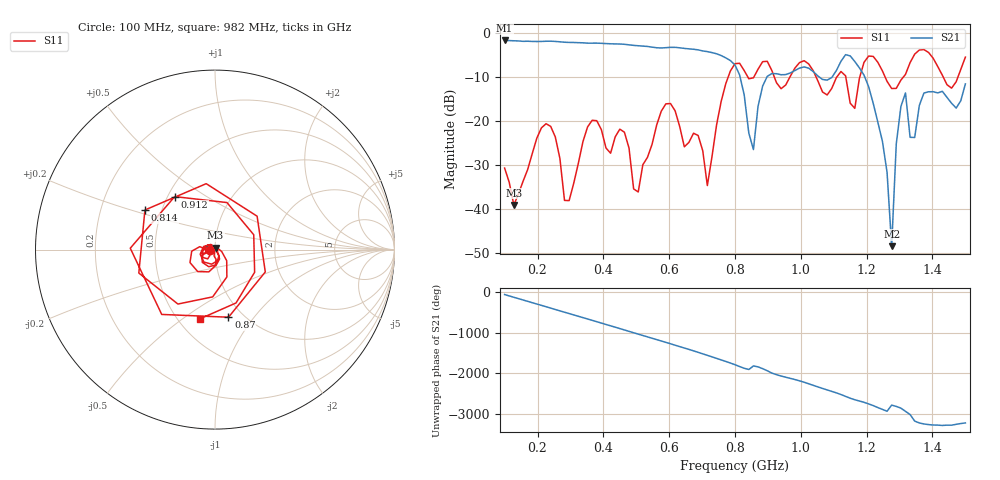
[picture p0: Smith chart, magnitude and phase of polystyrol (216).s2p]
! NanoVNA-App
! Date: 2025-09-25 15:31:34
! Start: 100MHz Stop: 1,5GHz Points: 101
! S-Parameter data: F S11 S21 S12 S22
# Hz S RI R 50
!  Frequency  S11_Real  S11_Imag  S21_Real  S21_Imag  S12_Real  S12_Imag  S22_Real  S22_Imag
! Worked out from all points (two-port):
!   101 points, 100 MHz to 1.5 GHz, reference 50 ohm
!   highest |S21| = -1.80 dB at 100 MHz (marker M1); lowest = -48.4 dB at 1.276 GHz (marker M2)
!   |S21| within 3 dB of the highest: start of sweep to 743 MHz
!   lowest |S11| = -39.1 dB at 128 MHz (marker M3), VSWR 1.02, Z = 50.3 + j1.07 ohm
!   |S11| at or under -10 dB: start of sweep to 779.7 MHz; 1.046 GHz to 1.11 GHz (64.15 MHz wide, 5.95 % of centre); 1.256 GHz to 1.312 GHz (56.73 MHz wide, 4.42 % of centre) (the widest 3 of 7)
!   S12 and S22 are empty: the file has one direction only
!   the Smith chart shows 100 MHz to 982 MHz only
!   S11 on the Smith chart (normalised r, x): 100 MHz: 0.94, -0.01; 814 MHz: 0.40, +0.22; 870 MHz: 0.85, -0.76; 912 MHz: 0.54, +0.37; 982 MHz: 0.64, -0.58
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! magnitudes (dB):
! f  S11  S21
! 100 MHz  -30.7  -1.8
! 128 MHz  -39.1  -1.9
! 212 MHz  -21.6  -2.0
! 282 MHz  -38.0  -2.2
! 338 MHz  -24.7  -2.3
! 464 MHz  -22.6  -2.7
! 506 MHz  -36.1  -3.0
! 576 MHz  -17.8  -3.5
! 716 MHz  -34.7  -4.3
! 800 MHz  -7.1  -7.4
! 814 MHz  -7.0  -9.6
! 856 MHz  -10.3  -26.5
! 870 MHz  -8.3  -16.7
! 912 MHz  -8.6  -9.3
! 982 MHz  -8.1  -8.6
! 1.038 GHz  -8.7  -8.9
! 1.192 GHz  -6.8  -9.7
! 1.248 GHz  -8.7  -24.7
! 1.276 GHz  -12.7  -48.4
! 1.29 GHz  -12.6  -25.2
! 1.318 GHz  -9.5  -13.7
! 1.5 GHz  -5.6  -11.6
